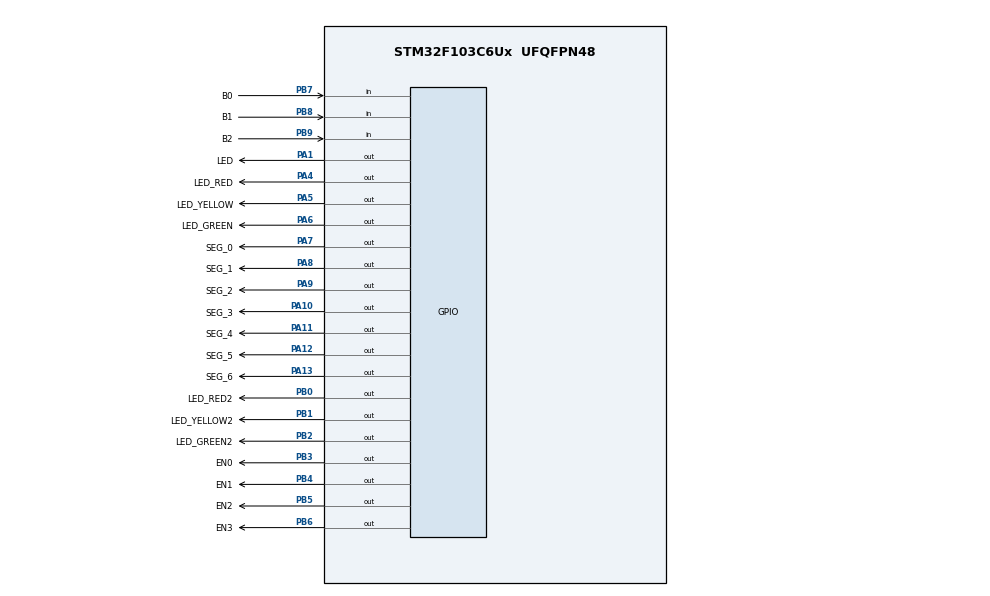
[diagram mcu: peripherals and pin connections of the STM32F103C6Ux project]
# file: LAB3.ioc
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Mcu.Family=STM32F1
Mcu.Name=STM32F103C6Ux
Mcu.Package=UFQFPN48
NVIC.PriorityGroup=NVIC_PRIORITYGROUP_4
NVIC.TIM2_IRQn=true\:0\:0\:false\:false\:true\:true\:true
PA1.GPIO_Label=LED
PA1.Signal=GPIO_Output
PA10.GPIO_Label=SEG_3
PA10.Signal=GPIO_Output
PA11.GPIO_Label=SEG_4
PA11.Signal=GPIO_Output
PA12.GPIO_Label=SEG_5
PA12.Signal=GPIO_Output
PA13.GPIO_Label=SEG_6
PA13.Signal=GPIO_Output
PA4.GPIO_Label=LED_RED
PA4.Signal=GPIO_Output
PA5.GPIO_Label=LED_YELLOW
PA5.Signal=GPIO_Output
PA6.GPIO_Label=LED_GREEN
PA6.Signal=GPIO_Output
PA7.GPIO_Label=SEG_0
PA7.Signal=GPIO_Output
PA8.GPIO_Label=SEG_1
PA8.Signal=GPIO_Output
PA9.GPIO_Label=SEG_2
PA9.Signal=GPIO_Output
PB0.GPIO_Label=LED_RED2
PB0.Signal=GPIO_Output
PB1.GPIO_Label=LED_YELLOW2
PB1.Signal=GPIO_Output
PB2.GPIO_Label=LED_GREEN2
PB2.Signal=GPIO_Output
PB3.GPIO_Label=EN0
PB3.Signal=GPIO_Output
PB4.GPIO_Label=EN1
PB4.Signal=GPIO_Output
PB5.GPIO_Label=EN2
PB5.Signal=GPIO_Output
PB6.GPIO_Label=EN3
PB6.Signal=GPIO_Output
PB7.GPIO_Label=B0
PB7.Signal=GPIO_Input
PB8.GPIO_Label=B1
PB8.Signal=GPIO_Input
PB9.GPIO_Label=B2
PB9.Signal=GPIO_Input
ProjectManager.HeapSize=0x200
ProjectManager.StackSize=0x400
ProjectManager.TargetToolchain=STM32CubeIDE
RCC.APB1Freq_Value=8000000
RCC.APB2Freq_Value=8000000
TIM2.Period=9
TIM2.Prescaler=7999
VP_SYS_VS_ND.Mode=No_Debug
VP_TIM2_VS_ClockSourceINT.Mode=Internal
board=custom

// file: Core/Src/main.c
/* USER CODE BEGIN Header */
/**
  ******************************************************************************
  * @file           : main.c
  * @brief          : Main program body
  ******************************************************************************
  * @attention
  *
  * <h2><center>&copy; Copyright (c) 2024 STMicroelectronics.
  * All rights reserved.</center></h2>
  *
  * This software component is licensed by ST under BSD 3-Clause license,
  * the "License"; You may not use this file except in compliance with the
  * License. You may obtain a copy of the License at:
  *                        opensource.org/licenses/BSD-3-Clause
  *
  ******************************************************************************
  */
/* USER CODE END Header */
#include "main.h"

/* USER CODE BEGIN Includes */
#include "software_timer.h"
#include "button.h"
#include "fsm_automatic.h"
#include "fsm_manual.h"
#include "global.h"
#include "fsm_setting.h"
#include "traffic_light.h"
#include "led7_segment.h"
/* USER CODE END Includes */

TIM_HandleTypeDef htim2;

void SystemClock_Config(void);
static void MX_GPIO_Init(void);
static void MX_TIM2_Init(void);

int main(void)
{

  /* MCU Configuration--------------------------------------------------------*/

  /* Reset of all peripherals, Initializes the Flash interface and the Systick. */
  HAL_Init();

  /* Configure the system clock */
  SystemClock_Config();

  /* Initialize all configured peripherals */
  MX_GPIO_Init();
  MX_TIM2_Init();
  /* USER CODE BEGIN 2 */
  HAL_TIM_Base_Start_IT(&htim2) ;
  /* USER CODE END 2 */

  /* Infinite loop */
  /* USER CODE BEGIN WHILE */

  while (1)
  {
	  fsm_automatic_run();
	  fsm_manual_run();
	  fsm_setting();
//	  if(button_flag[1]){
//	  if(timer1_flag){
//		  HAL_GPIO_TogglePin(LED_RED_GPIO_Port, LED_RED_Pin);
//		  setTimer1(100);
//	  }
//		  button_flag[1] = 0;
//	  }
    /* USER CODE END WHILE */

  }
}

void SystemClock_Config(void)
{
  RCC_OscInitTypeDef RCC_OscInitStruct = {0};
  RCC_ClkInitTypeDef RCC_ClkInitStruct = {0};

  /** Initializes the RCC Oscillators according to the specified parameters
  * in the RCC_OscInitTypeDef structure.
  */
  RCC_OscInitStruct.OscillatorType = RCC_OSCILLATORTYPE_HSI;
  RCC_OscInitStruct.HSIState = RCC_HSI_ON;
  RCC_OscInitStruct.HSICalibrationValue = RCC_HSICALIBRATION_DEFAULT;
  RCC_OscInitStruct.PLL.PLLState = RCC_PLL_NONE;
  if (HAL_RCC_OscConfig(&RCC_OscInitStruct) != HAL_OK)
  {
    Error_Handler();
  }
  /** Initializes the CPU, AHB and APB buses clocks
  */
  RCC_ClkInitStruct.ClockType = RCC_CLOCKTYPE_HCLK|RCC_CLOCKTYPE_SYSCLK
                              |RCC_CLOCKTYPE_PCLK1|RCC_CLOCKTYPE_PCLK2;
  RCC_ClkInitStruct.SYSCLKSource = RCC_SYSCLKSOURCE_HSI;
  RCC_ClkInitStruct.AHBCLKDivider = RCC_SYSCLK_DIV1;
  RCC_ClkInitStruct.APB1CLKDivider = RCC_HCLK_DIV1;
  RCC_ClkInitStruct.APB2CLKDivider = RCC_HCLK_DIV1;

  if (HAL_RCC_ClockConfig(&RCC_ClkInitStruct, FLASH_LATENCY_0) != HAL_OK)
  {
    Error_Handler();
  }
}

static void MX_TIM2_Init(void)
{

  TIM_ClockConfigTypeDef sClockSourceConfig = {0};
  TIM_MasterConfigTypeDef sMasterConfig = {0};

  htim2.Instance = TIM2;
  htim2.Init.Prescaler = 7999;
  htim2.Init.CounterMode = TIM_COUNTERMODE_UP;
  htim2.Init.Period = 9;
  htim2.Init.ClockDivision = TIM_CLOCKDIVISION_DIV1;
  htim2.Init.AutoReloadPreload = TIM_AUTORELOAD_PRELOAD_DISABLE;
  if (HAL_TIM_Base_Init(&htim2) != HAL_OK)
  {
    Error_Handler();
  }
  sClockSourceConfig.ClockSource = TIM_CLOCKSOURCE_INTERNAL;
  if (HAL_TIM_ConfigClockSource(&htim2, &sClockSourceConfig) != HAL_OK)
  {
    Error_Handler();
  }
  sMasterConfig.MasterOutputTrigger = TIM_TRGO_RESET;
  sMasterConfig.MasterSlaveMode = TIM_MASTERSLAVEMODE_DISABLE;
  if (HAL_TIMEx_MasterConfigSynchronization(&htim2, &sMasterConfig) != HAL_OK)
  {
    Error_Handler();
  }

}

static void MX_GPIO_Init(void)
{
  GPIO_InitTypeDef GPIO_InitStruct = {0};

  /* GPIO Ports Clock Enable */
  __HAL_RCC_GPIOA_CLK_ENABLE();
  __HAL_RCC_GPIOB_CLK_ENABLE();

  /*Configure GPIO pin Output Level */
  HAL_GPIO_WritePin(GPIOA, LED_Pin|LED_RED_Pin|LED_YELLOW_Pin|LED_GREEN_Pin
                          |SEG_0_Pin|SEG_1_Pin|SEG_2_Pin|SEG_3_Pin
                          |SEG_4_Pin|SEG_5_Pin|SEG_6_Pin, GPIO_PIN_RESET);

  /*Configure GPIO pin Output Level */
  HAL_GPIO_WritePin(GPIOB, LED_RED2_Pin|LED_YELLOW2_Pin|LED_GREEN2_Pin|EN0_Pin
                          |EN1_Pin|EN2_Pin|EN3_Pin, GPIO_PIN_RESET);

  /*Configure GPIO pins : LED_Pin LED_RED_Pin LED_YELLOW_Pin LED_GREEN_Pin
                           SEG_0_Pin SEG_1_Pin SEG_2_Pin SEG_3_Pin
                           SEG_4_Pin SEG_5_Pin SEG_6_Pin */
  GPIO_InitStruct.Pin = LED_Pin|LED_RED_Pin|LED_YELLOW_Pin|LED_GREEN_Pin
                          |SEG_0_Pin|SEG_1_Pin|SEG_2_Pin|SEG_3_Pin
                          |SEG_4_Pin|SEG_5_Pin|SEG_6_Pin;
  GPIO_InitStruct.Mode = GPIO_MODE_OUTPUT_PP;
  GPIO_InitStruct.Pull = GPIO_NOPULL;
  GPIO_InitStruct.Speed = GPIO_SPEED_FREQ_LOW;
  HAL_GPIO_Init(GPIOA, &GPIO_InitStruct);

  /*Configure GPIO pins : LED_RED2_Pin LED_YELLOW2_Pin LED_GREEN2_Pin EN0_Pin
                           EN1_Pin EN2_Pin EN3_Pin */
  GPIO_InitStruct.Pin = LED_RED2_Pin|LED_YELLOW2_Pin|LED_GREEN2_Pin|EN0_Pin
                          |EN1_Pin|EN2_Pin|EN3_Pin;
  GPIO_InitStruct.Mode = GPIO_MODE_OUTPUT_PP;
  GPIO_InitStruct.Pull = GPIO_NOPULL;
  GPIO_InitStruct.Speed = GPIO_SPEED_FREQ_LOW;
  HAL_GPIO_Init(GPIOB, &GPIO_InitStruct);

  /*Configure GPIO pins : B0_Pin B1_Pin B2_Pin */
  GPIO_InitStruct.Pin = B0_Pin|B1_Pin|B2_Pin;
  GPIO_InitStruct.Mode = GPIO_MODE_INPUT;
  GPIO_InitStruct.Pull = GPIO_NOPULL;
  HAL_GPIO_Init(GPIOB, &GPIO_InitStruct);

}

/* USER CODE BEGIN 4 */
void HAL_TIM_PeriodElapsedCallback ( TIM_HandleTypeDef * htim )
{
	timerRun();
	getKeyInput();
}
/* USER CODE END 4 */

void Error_Handler(void)
{
  __disable_irq();
  while (1)
  {
  }
}

/************************ (C) COPYRIGHT STMicroelectronics *****END OF FILE****/
